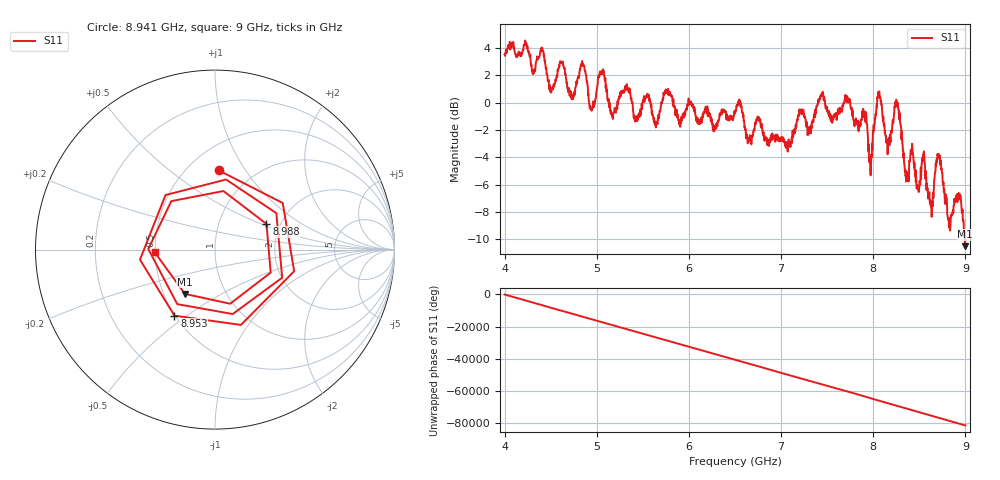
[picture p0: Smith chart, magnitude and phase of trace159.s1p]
! Created with skrf 1.8.0 (http://scikit-rf.org).
# Hz S RI R 50.0
!freq ReS11 ImS11
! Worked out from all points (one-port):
!   1601 points, 4 GHz to 9 GHz, reference 50 ohm
!   lowest |S11| = -10.5 dB at 8.997 GHz (marker M1), VSWR 1.85, Z = 32 - j17.3 ohm
!   |S11| at or under -10 dB: 8.99359 GHz to 8.998446 GHz (4.856 MHz wide, 0.054 % of centre)
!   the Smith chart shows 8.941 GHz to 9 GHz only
!   S11 on the Smith chart (normalised r, x): 8.941 GHz: 0.70, +0.76; 8.953 GHz: 0.50, -0.45; 8.988 GHz: 1.70, +0.54; 9 GHz: 0.50, -0.02
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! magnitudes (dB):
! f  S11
! 4 GHz  3.5
! 4.406 GHz  4.0
! 4.506 GHz  0.7
! 4.625 GHz  2.8
! 4.731 GHz  0.2
! 4.85 GHz  2.8
! 4.941 GHz  -0.5
! 5.053 GHz  2.3
! 5.159 GHz  -0.7
! 5.25 GHz  0.5
! 5.875 GHz  -0.8
! 6.5 GHz  -0.8
! 7.125 GHz  -2.1
! 7.75 GHz  0.1
! 7.969 GHz  -5.1
! 8.059 GHz  0.8
! 8.162 GHz  -2.9
! 8.256 GHz  -0.1
! 8.375 GHz  -5.7
! 8.55 GHz  -3.6
! 8.628 GHz  -7.3
! 8.709 GHz  -3.9
! 8.828 GHz  -8.6
! 8.941 GHz  -7.1
! 8.953 GHz  -7.3
! 8.988 GHz  -9.9
! 8.997 GHz  -10.5
! 9 GHz  -9.5
